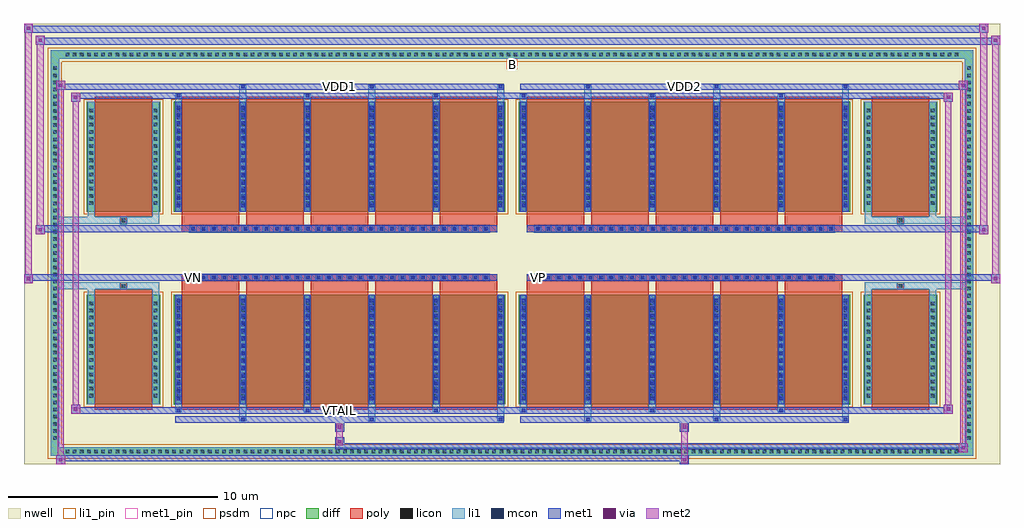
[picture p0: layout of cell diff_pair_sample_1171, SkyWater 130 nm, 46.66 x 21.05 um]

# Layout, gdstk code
import gdstk
lib = gdstk.Library(unit=1e-6, precision=5e-09)
def R(c, l, rs):  # rectangles x0, y0, x1, y1
    for r in rs: c.add(gdstk.rectangle(r[:2], r[2:], *l))
def A(c, l, x, y, w, h, nx, ny, dx, dy):  # array of equal rectangles
    R(c, l, [(x+i*dx, y+j*dy, x+i*dx+w, y+j*dy+h) for i in range(nx) for j in range(ny)])
def P(c, l, *ps):  # polygons
    for p in ps: c.add(gdstk.Polygon(p, *l))
nwell = (64, 20)
diff = (65, 20)
poly = (66, 20)
licon = (66, 44)
li1_pin = (67, 16)
li1 = (67, 20)
mcon = (67, 44)
met1_pin = (68, 16)
met1 = (68, 20)
via = (68, 44)
met2 = (69, 20)
psdm = (94, 20)
npc = (95, 20)

diff_pair_sample_1171 = lib.new_cell('diff_pair_sample_1171')
R(diff_pair_sample_1171, nwell, [(-23.33,-10.09,23.33,10.96), (-20.65,-8.28,-0.01,-0.8), (0.01,-8.28,20.65,-0.8), (-20.65,0.8,-0.01,8.28), (0.01,0.8,20.65,8.28)])
A(diff_pair_sample_1171, diff, -21.455, -9.69, 0.41, 0.41, 126, 2, 0.34, 18.97)
A(diff_pair_sample_1171, diff, -22.06, -9.045, 0.41, 0.41, 1, 53, 0, 0.34)
A(diff_pair_sample_1171, diff, 21.65, -9.045, 0.41, 0.41, 1, 53, 0, 0.34)
R(diff_pair_sample_1171, diff, [(-21.455,-9.69,21.455,-9.28), (-22.06,-9.045,-21.65,9.045), (21.65,-9.045,22.06,9.045), (-20.34,-7.235,-16.81,-1.985), (-16.17,-7.235,-0.32,-1.985), (0.32,-7.235,16.17,-1.985), (16.81,-7.235,20.34,-1.985), (-20.34,1.985,-16.81,7.235), (-16.17,1.985,-0.32,7.235), (0.32,1.985,16.17,7.235), (16.81,1.985,20.34,7.235), (-21.455,9.28,21.455,9.69)])
P(diff_pair_sample_1171, diff, [(22.06,9.69),(-22.06,9.69),(-22.06,-9.28),(-21.65,-9.28),(-21.65,9.28),(21.65,9.28),(21.65,-9.28),(-21.65,-9.28),(-22.06,-9.28),(-22.06,-9.69),(22.06,-9.69)])
A(diff_pair_sample_1171, poly, -15.78, -7.485, 2.75, 5.75, 5, 2, 3.08, 9.22)
A(diff_pair_sample_1171, poly, 0.71, -7.485, 2.75, 5.75, 5, 2, 3.08, 9.22)
A(diff_pair_sample_1171, poly, -15.78, -1.735, 2.75, 0.405, 5, 2, 3.08, 3.065)
A(diff_pair_sample_1171, poly, 0.71, -1.735, 2.75, 0.405, 5, 2, 3.08, 3.065)
A(diff_pair_sample_1171, poly, -15.41, -1.33, 0.33, 0.33, 29, 2, 0.5, 2.33)
A(diff_pair_sample_1171, poly, 1.08, -1.33, 0.33, 0.33, 29, 2, 0.5, 2.33)
R(diff_pair_sample_1171, poly, [(-19.95,-7.485,-17.2,-1.735), (17.2,-7.485,19.95,-1.735), (-18.74,-1.735,-18.41,-1.405), (-18.74,-1.735,-18.41,-1.405), (18.41,-1.735,18.74,-1.405), (18.41,-1.735,18.74,-1.405), (-15.78,-1.33,-0.71,-1), (0.71,-1.33,15.78,-1), (-15.78,1,-0.71,1.33), (0.71,1,15.78,1.33), (-18.74,1.405,-18.41,1.735), (-18.74,1.405,-18.41,1.735), (18.41,1.405,18.74,1.735), (18.41,1.405,18.74,1.735), (-19.95,1.735,-17.2,7.485), (17.2,1.735,19.95,7.485)])
A(diff_pair_sample_1171, licon, -21.335, -9.57, 0.17, 0.17, 126, 2, 0.34, 18.97)
A(diff_pair_sample_1171, licon, -21.94, -8.925, 0.17, 0.17, 1, 53, 0, 0.34)
A(diff_pair_sample_1171, licon, 21.77, -8.925, 0.17, 0.17, 1, 53, 0, 0.34)
A(diff_pair_sample_1171, licon, -20.2, -6.905, 0.17, 0.17, 1, 14, 0, 0.34)
A(diff_pair_sample_1171, licon, -17.12, -6.905, 0.17, 0.17, 1, 14, 0, 0.34)
A(diff_pair_sample_1171, licon, -16.03, -6.905, 0.17, 0.17, 6, 14, 3.08, 0.34)
A(diff_pair_sample_1171, licon, 0.46, -6.905, 0.17, 0.17, 6, 14, 3.08, 0.34)
A(diff_pair_sample_1171, licon, 16.95, -6.905, 0.17, 0.17, 1, 14, 0, 0.34)
A(diff_pair_sample_1171, licon, 20.03, -6.905, 0.17, 0.17, 1, 14, 0, 0.34)
A(diff_pair_sample_1171, licon, -15.33, -1.25, 0.17, 0.17, 29, 2, 0.5, 2.33)
A(diff_pair_sample_1171, licon, 1.16, -1.25, 0.17, 0.17, 29, 2, 0.5, 2.33)
A(diff_pair_sample_1171, licon, -20.2, 2.315, 0.17, 0.17, 1, 14, 0, 0.34)
A(diff_pair_sample_1171, licon, -17.12, 2.315, 0.17, 0.17, 1, 14, 0, 0.34)
A(diff_pair_sample_1171, licon, -16.03, 2.315, 0.17, 0.17, 6, 14, 3.08, 0.34)
A(diff_pair_sample_1171, licon, 0.46, 2.315, 0.17, 0.17, 6, 14, 3.08, 0.34)
A(diff_pair_sample_1171, licon, 16.95, 2.315, 0.17, 0.17, 1, 14, 0, 0.34)
A(diff_pair_sample_1171, licon, 20.03, 2.315, 0.17, 0.17, 1, 14, 0, 0.34)
R(diff_pair_sample_1171, licon, [(-18.66,-1.655,-18.49,-1.485), (18.49,-1.655,18.66,-1.485), (-18.66,1.485,-18.49,1.655), (18.49,1.485,18.66,1.655)])
R(diff_pair_sample_1171, li1_pin, [(-0.25,8.78,0.25,9.28)])
A(diff_pair_sample_1171, li1, -21.415, -9.65, 0.33, 0.33, 126, 2, 0.34, 18.97)
A(diff_pair_sample_1171, li1, -22.02, -9.005, 0.33, 0.33, 1, 53, 0, 0.34)
A(diff_pair_sample_1171, li1, 21.69, -9.005, 0.33, 0.33, 1, 53, 0, 0.34)
A(diff_pair_sample_1171, li1, -13.03, -8.04, 0.33, 0.805, 3, 2, 6.16, 15.275)
A(diff_pair_sample_1171, li1, -12.95, -8.04, 0.17, 0.17, 3, 2, 6.16, 15.91)
A(diff_pair_sample_1171, li1, 3.46, -8.04, 0.33, 0.805, 3, 2, 6.16, 15.275)
A(diff_pair_sample_1171, li1, 3.54, -8.04, 0.17, 0.17, 3, 2, 6.16, 15.91)
A(diff_pair_sample_1171, li1, -16.11, -7.61, 0.33, 0.375, 3, 2, 6.16, 14.845)
A(diff_pair_sample_1171, li1, -16.03, -7.61, 0.17, 0.17, 3, 2, 6.16, 15.05)
A(diff_pair_sample_1171, li1, 0.38, -7.61, 0.33, 0.375, 3, 2, 6.16, 14.845)
A(diff_pair_sample_1171, li1, 0.46, -7.61, 0.17, 0.17, 3, 2, 6.16, 15.05)
A(diff_pair_sample_1171, li1, -16.11, -7.235, 0.33, 5.25, 6, 2, 3.08, 9.22)
A(diff_pair_sample_1171, li1, 0.38, -7.235, 0.33, 5.25, 6, 2, 3.08, 9.22)
A(diff_pair_sample_1171, li1, -16.03, -7.035, 0.17, 0.17, 6, 14, 3.08, 0.36)
A(diff_pair_sample_1171, li1, -16.03, -7.035, 0.17, 4.85, 6, 2, 3.08, 9.22)
A(diff_pair_sample_1171, li1, 0.46, -7.035, 0.17, 0.17, 6, 14, 3.08, 0.36)
A(diff_pair_sample_1171, li1, 0.46, -7.035, 0.17, 4.85, 6, 2, 3.08, 9.22)
A(diff_pair_sample_1171, li1, -20.28, -6.985, 0.33, 0.33, 1, 14, 0, 0.34)
A(diff_pair_sample_1171, li1, -17.2, -6.985, 0.33, 0.33, 1, 14, 0, 0.34)
A(diff_pair_sample_1171, li1, -16.11, -6.985, 0.33, 0.33, 6, 14, 3.08, 0.34)
A(diff_pair_sample_1171, li1, 0.38, -6.985, 0.33, 0.33, 6, 14, 3.08, 0.34)
A(diff_pair_sample_1171, li1, 16.87, -6.985, 0.33, 0.33, 1, 14, 0, 0.34)
A(diff_pair_sample_1171, li1, 19.95, -6.985, 0.33, 0.33, 1, 14, 0, 0.34)
A(diff_pair_sample_1171, li1, -15.41, -1.33, 0.33, 0.33, 29, 2, 0.5, 2.33)
A(diff_pair_sample_1171, li1, 1.08, -1.33, 0.33, 0.33, 29, 2, 0.5, 2.33)
A(diff_pair_sample_1171, li1, -16.03, 2.185, 0.17, 0.17, 6, 14, 3.08, 0.36)
A(diff_pair_sample_1171, li1, 0.46, 2.185, 0.17, 0.17, 6, 14, 3.08, 0.36)
A(diff_pair_sample_1171, li1, -20.28, 2.235, 0.33, 0.33, 1, 14, 0, 0.34)
A(diff_pair_sample_1171, li1, -17.2, 2.235, 0.33, 0.33, 1, 14, 0, 0.34)
A(diff_pair_sample_1171, li1, -16.11, 2.235, 0.33, 0.33, 6, 14, 3.08, 0.34)
A(diff_pair_sample_1171, li1, 0.38, 2.235, 0.33, 0.33, 6, 14, 3.08, 0.34)
A(diff_pair_sample_1171, li1, 16.87, 2.235, 0.33, 0.33, 1, 14, 0, 0.34)
A(diff_pair_sample_1171, li1, 19.95, 2.235, 0.33, 0.33, 1, 14, 0, 0.34)
R(diff_pair_sample_1171, li1, [(-22.06,-9.69,-21.65,-9.28), (-22.06,-9.69,-21.65,-9.28), (-21.65,-9.69,21.65,-9.28), (21.65,-9.69,22.06,-9.28), (21.65,-9.69,22.06,-9.28), (-22.06,-9.28,-21.65,9.28), (21.65,-9.28,22.06,9.28), (-20.28,-7.235,-19.95,-1.985), (-17.2,-7.235,-16.87,-1.985), (16.87,-7.235,17.2,-1.985), (19.95,-7.235,20.28,-1.985), (-20.28,-1.985,-19.95,-1.405), (-17.2,-1.985,-16.87,-1.405), (16.87,-1.985,17.2,-1.405), (19.95,-1.985,20.28,-1.405), (-22.06,-1.735,-18.74,-1.405), (-20.28,-1.735,-18.74,-1.405), (-18.74,-1.735,-18.41,-1.405), (-18.41,-1.735,-16.87,-1.405), (16.87,-1.735,18.41,-1.405), (18.41,-1.735,18.74,-1.405), (18.41,-1.735,22.06,-1.405), (18.74,-1.735,20.28,-1.405), (-22.06,1.405,-18.74,1.735), (-20.28,1.405,-18.74,1.735), (-20.28,1.405,-19.95,1.985), (-18.74,1.405,-18.41,1.735), (-18.41,1.405,-16.87,1.735), (-17.2,1.405,-16.87,1.985), (16.87,1.405,18.41,1.735), (16.87,1.405,17.2,1.985), (18.41,1.405,18.74,1.735), (18.41,1.405,22.06,1.735), (18.74,1.405,20.28,1.735), (19.95,1.405,20.28,1.985), (-20.28,1.985,-19.95,7.235), (-17.2,1.985,-16.87,7.235), (16.87,1.985,17.2,7.235), (19.95,1.985,20.28,7.235), (-22.06,9.28,-21.65,9.69), (-22.06,9.28,-21.65,9.69), (-21.65,9.28,21.65,9.69), (21.65,9.28,22.06,9.69), (21.65,9.28,22.06,9.69)])
A(diff_pair_sample_1171, mcon, -12.95, -8.04, 0.17, 0.17, 3, 2, 6.16, 15.91)
A(diff_pair_sample_1171, mcon, 3.54, -8.04, 0.17, 0.17, 3, 2, 6.16, 15.91)
A(diff_pair_sample_1171, mcon, -16.03, -7.61, 0.17, 0.17, 3, 2, 6.16, 15.05)
A(diff_pair_sample_1171, mcon, 0.46, -7.61, 0.17, 0.17, 3, 2, 6.16, 15.05)
A(diff_pair_sample_1171, mcon, -16.03, -7.035, 0.17, 0.17, 6, 14, 3.08, 0.36)
A(diff_pair_sample_1171, mcon, 0.46, -7.035, 0.17, 0.17, 6, 14, 3.08, 0.36)
A(diff_pair_sample_1171, mcon, -15.33, -1.25, 0.17, 0.17, 29, 2, 0.5, 2.33)
A(diff_pair_sample_1171, mcon, 1.16, -1.25, 0.17, 0.17, 29, 2, 0.5, 2.33)
A(diff_pair_sample_1171, mcon, -16.03, 2.185, 0.17, 0.17, 6, 14, 3.08, 0.36)
A(diff_pair_sample_1171, mcon, 0.46, 2.185, 0.17, 0.17, 6, 14, 3.08, 0.36)
R(diff_pair_sample_1171, met1_pin, [(-8.38,-7.65,-8.11,-7.38), (-15.38,-1.29,-15.11,-1.02), (1.11,-1.29,1.38,-1.02), (-8.38,7.83,-8.11,8.1), (8.11,7.83,8.38,8.1)])
A(diff_pair_sample_1171, met1, -13.01, -8.1, 0.29, 0.29, 3, 2, 6.16, 15.91)
A(diff_pair_sample_1171, met1, 3.48, -8.1, 0.29, 0.29, 3, 2, 6.16, 15.91)
A(diff_pair_sample_1171, met1, -16.09, -7.67, 0.29, 0.29, 3, 2, 6.16, 15.05)
A(diff_pair_sample_1171, met1, 0.4, -7.67, 0.29, 0.29, 3, 2, 6.16, 15.05)
A(diff_pair_sample_1171, met1, -16.09, -7.235, 0.29, 5.25, 6, 2, 3.08, 9.22)
A(diff_pair_sample_1171, met1, 0.4, -7.235, 0.29, 5.25, 6, 2, 3.08, 9.22)
A(diff_pair_sample_1171, met1, -16.09, -7.095, 0.29, 0.29, 6, 14, 3.08, 0.36)
A(diff_pair_sample_1171, met1, 0.4, -7.095, 0.29, 0.29, 6, 14, 3.08, 0.36)
A(diff_pair_sample_1171, met1, -15.39, -1.31, 0.29, 0.29, 29, 2, 0.5, 2.33)
A(diff_pair_sample_1171, met1, 1.1, -1.31, 0.29, 0.29, 29, 2, 0.5, 2.33)
A(diff_pair_sample_1171, met1, -16.09, 2.125, 0.29, 0.29, 6, 14, 3.08, 0.36)
A(diff_pair_sample_1171, met1, 0.4, 2.125, 0.29, 0.29, 6, 14, 3.08, 0.36)
R(diff_pair_sample_1171, met1, [(-21.79,-10.09,-21.36,-9.66), (8.03,-10.09,8.46,-9.66), (-21.79,-9.95,8.46,-9.66), (21.36,-9.52,21.79,-9.09), (-8.46,-9.38,21.79,-9.09), (-8.46,-9.24,-8.03,-8.81), (-8.46,-8.53,-8.03,-8.1), (8.03,-8.53,8.46,-8.1), (-16.09,-8.1,-0.4,-7.81), (0.4,-8.1,16.09,-7.81), (-21.08,-7.67,-20.65,-7.24), (-21.08,-7.67,-16.09,-7.38), (-16.09,-7.67,-0.4,-7.38), (-0.4,-7.67,0.4,-7.38), (0.4,-7.67,16.09,-7.38), (16.09,-7.67,21.08,-7.38), (20.65,-7.67,21.08,-7.24), (-23.33,-1.43,-22.9,-1), (22.9,-1.43,23.33,-1), (-23.33,-1.33,-0.71,-1), (-15.78,-1.33,-0.71,-1), (0.71,-1.33,15.78,-1), (0.71,-1.33,23.33,-1), (-22.76,0.9,-22.33,1.33), (22.33,0.9,22.76,1.33), (-22.76,1,-15.78,1.33), (-15.78,1,-0.71,1.33), (0.71,1,15.78,1.33), (15.78,1,22.76,1.33), (-21.08,7.24,-20.65,7.67), (20.65,7.24,21.08,7.67), (-21.08,7.38,-16.09,7.67), (-16.09,7.38,-0.4,7.67), (-0.4,7.38,0.4,7.67), (0.4,7.38,16.09,7.67), (16.09,7.38,21.08,7.67), (-21.79,7.81,-21.36,8.24), (-21.79,7.81,-16.09,8.1), (-16.09,7.81,-0.4,8.1), (0.4,7.81,16.09,8.1), (16.09,7.81,21.79,8.1), (21.36,7.81,21.79,8.24), (-22.76,9.96,-22.33,10.39), (-22.76,9.96,-20.65,10.29), (-20.65,9.96,20.65,10.29), (20.65,9.96,23.33,10.29), (22.9,9.96,23.33,10.39), (-23.33,10.53,-22.9,10.96), (-23.33,10.53,-20.65,10.86), (-20.65,10.53,20.65,10.86), (20.65,10.53,22.76,10.86), (22.33,10.53,22.76,10.96)])
R(diff_pair_sample_1171, via, [(-21.65,-9.95,-21.5,-9.8), (8.17,-9.95,8.32,-9.8), (21.5,-9.38,21.65,-9.23), (-8.32,-9.1,-8.17,-8.95), (-8.32,-8.39,-8.17,-8.24), (8.17,-8.39,8.32,-8.24), (-20.94,-7.53,-20.79,-7.38), (20.79,-7.53,20.94,-7.38), (-23.19,-1.29,-23.04,-1.14), (23.04,-1.29,23.19,-1.14), (-22.62,1.04,-22.47,1.19), (22.47,1.04,22.62,1.19), (-20.94,7.38,-20.79,7.53), (20.79,7.38,20.94,7.53), (-21.65,7.95,-21.5,8.1), (21.5,7.95,21.65,8.1), (-22.62,10.1,-22.47,10.25), (23.04,10.1,23.19,10.25), (-23.19,10.67,-23.04,10.82), (22.47,10.67,22.62,10.82)])
R(diff_pair_sample_1171, met2, [(-21.79,-10.09,-21.36,-9.66), (-21.72,-10.09,-21.43,8.24), (-21.43,-10.09,-21.36,-9.66), (-21.74,-10.04,-21.41,-9.71), (8.08,-10.04,8.41,-9.71), (8.08,-9.71,8.41,-8.48), (21.36,-9.52,21.79,-9.09), (21.43,-9.52,21.72,8.24), (21.72,-9.52,21.79,-9.09), (21.41,-9.47,21.74,-9.14), (-8.41,-9.19,-8.08,-8.86), (-8.41,-8.86,-8.08,-8.48), (-8.41,-8.48,-8.08,-8.15), (8.08,-8.48,8.41,-8.15), (-21.08,-7.67,-20.65,-7.24), (-21.01,-7.67,-20.72,7.67), (-20.72,-7.67,-20.65,-7.24), (20.65,-7.67,21.08,-7.24), (20.72,-7.67,21.01,7.67), (21.01,-7.67,21.08,-7.24), (-21.03,-7.62,-20.7,-7.29), (20.7,-7.62,21.03,-7.29), (-23.33,-1.43,-22.9,-1), (-23.28,-1.43,-22.95,10.96), (-22.95,-1.43,-22.9,-1), (22.9,-1.43,23.33,-1), (22.95,-1.43,23.28,10.39), (23.28,-1.43,23.33,-1), (-23.28,-1.38,-22.95,-1.05), (22.95,-1.38,23.28,-1.05), (-22.76,0.9,-22.33,1.33), (-22.71,0.9,-22.38,10.39), (-22.38,0.9,-22.33,1.33), (22.33,0.9,22.76,1.33), (22.38,0.9,22.71,10.96), (22.71,0.9,22.76,1.33), (-22.71,0.95,-22.38,1.28), (22.38,0.95,22.71,1.28), (-21.08,7.24,-20.65,7.67), (-20.72,7.24,-20.65,7.67), (20.65,7.24,21.08,7.67), (21.01,7.24,21.08,7.67), (-21.03,7.29,-20.7,7.62), (20.7,7.29,21.03,7.62), (-21.79,7.81,-21.36,8.24), (-21.43,7.81,-21.36,8.24), (21.36,7.81,21.79,8.24), (21.72,7.81,21.79,8.24), (-21.74,7.86,-21.41,8.19), (21.41,7.86,21.74,8.19), (-22.76,9.96,-22.33,10.39), (-22.38,9.96,-22.33,10.39), (22.9,9.96,23.33,10.39), (23.28,9.96,23.33,10.39), (-22.71,10.01,-22.38,10.34), (22.95,10.01,23.28,10.34), (-23.33,10.53,-22.9,10.96), (-22.95,10.53,-22.9,10.96), (22.33,10.53,22.76,10.96), (22.71,10.53,22.76,10.96), (-23.28,10.58,-22.95,10.91), (22.38,10.58,22.71,10.91)])
R(diff_pair_sample_1171, psdm, [(-20.47,-7.365,-16.68,-1.855), (-16.3,-7.365,-0.19,-1.855), (0.19,-7.365,16.3,-1.855), (16.68,-7.365,20.47,-1.855), (-20.47,1.855,-16.68,7.365), (-16.3,1.855,-0.19,7.365), (0.19,1.855,16.3,7.365), (16.68,1.855,20.47,7.365)])
P(diff_pair_sample_1171, psdm, [(22.19,9.82),(-22.19,9.82),(-22.19,-9.15),(-21.52,-9.15),(-21.52,9.15),(21.52,9.15),(21.52,-9.15),(-21.52,-9.15),(-22.19,-9.15),(-22.19,-9.82),(22.19,-9.82)])
A(diff_pair_sample_1171, npc, -15.43, -1.35, 0.37, 0.37, 29, 2, 0.5, 2.33)
A(diff_pair_sample_1171, npc, 1.06, -1.35, 0.37, 0.37, 29, 2, 0.5, 2.33)
R(diff_pair_sample_1171, npc, [(-18.76,-1.755,-18.39,-1.385), (18.39,-1.755,18.76,-1.385), (-15.43,-1.35,-14.56,-0.98), (-15.43,-1.35,-14.56,-0.98), (-14.93,-1.35,-14.06,-0.98), (-14.93,-1.35,-14.06,-0.98), (-14.43,-1.35,-13.56,-0.98), (-14.43,-1.35,-13.56,-0.98), (-13.93,-1.35,-13.06,-0.98), (-13.93,-1.35,-13.06,-0.98), (-13.43,-1.35,-12.56,-0.98), (-13.43,-1.35,-12.56,-0.98), (-12.93,-1.35,-12.06,-0.98), (-12.93,-1.35,-12.06,-0.98), (-12.43,-1.35,-11.56,-0.98), (-12.43,-1.35,-11.56,-0.98), (-11.93,-1.35,-11.06,-0.98), (-11.93,-1.35,-11.06,-0.98), (-11.43,-1.35,-10.56,-0.98), (-11.43,-1.35,-10.56,-0.98), (-10.93,-1.35,-10.06,-0.98), (-10.93,-1.35,-10.06,-0.98), (-10.43,-1.35,-9.56,-0.98), (-10.43,-1.35,-9.56,-0.98), (-9.93,-1.35,-9.06,-0.98), (-9.93,-1.35,-9.06,-0.98), (-9.43,-1.35,-8.56,-0.98), (-9.43,-1.35,-8.56,-0.98), (-8.93,-1.35,-8.06,-0.98), (-8.93,-1.35,-8.06,-0.98), (-8.43,-1.35,-7.56,-0.98), (-8.43,-1.35,-7.56,-0.98), (-7.93,-1.35,-7.06,-0.98), (-7.93,-1.35,-7.06,-0.98), (-7.43,-1.35,-6.56,-0.98), (-7.43,-1.35,-6.56,-0.98), (-6.93,-1.35,-6.06,-0.98), (-6.93,-1.35,-6.06,-0.98), (-6.43,-1.35,-5.56,-0.98), (-6.43,-1.35,-5.56,-0.98), (-5.93,-1.35,-5.06,-0.98), (-5.93,-1.35,-5.06,-0.98), (-5.43,-1.35,-4.56,-0.98), (-5.43,-1.35,-4.56,-0.98), (-4.93,-1.35,-4.06,-0.98), (-4.93,-1.35,-4.06,-0.98), (-4.43,-1.35,-3.56,-0.98), (-4.43,-1.35,-3.56,-0.98), (-3.93,-1.35,-3.06,-0.98), (-3.93,-1.35,-3.06,-0.98), (-3.43,-1.35,-2.56,-0.98), (-3.43,-1.35,-2.56,-0.98), (-2.93,-1.35,-2.06,-0.98), (-2.93,-1.35,-2.06,-0.98), (-2.43,-1.35,-1.56,-0.98), (-2.43,-1.35,-1.56,-0.98), (-1.93,-1.35,-1.06,-0.98), (-1.93,-1.35,-1.06,-0.98), (1.06,-1.35,1.93,-0.98), (1.06,-1.35,1.93,-0.98), (1.56,-1.35,2.43,-0.98), (1.56,-1.35,2.43,-0.98), (2.06,-1.35,2.93,-0.98), (2.06,-1.35,2.93,-0.98), (2.56,-1.35,3.43,-0.98), (2.56,-1.35,3.43,-0.98), (3.06,-1.35,3.93,-0.98), (3.06,-1.35,3.93,-0.98), (3.56,-1.35,4.43,-0.98), (3.56,-1.35,4.43,-0.98), (4.06,-1.35,4.93,-0.98), (4.06,-1.35,4.93,-0.98), (4.56,-1.35,5.43,-0.98), (4.56,-1.35,5.43,-0.98), (5.06,-1.35,5.93,-0.98), (5.06,-1.35,5.93,-0.98), (5.56,-1.35,6.43,-0.98), (5.56,-1.35,6.43,-0.98), (6.06,-1.35,6.93,-0.98), (6.06,-1.35,6.93,-0.98), (6.56,-1.35,7.43,-0.98), (6.56,-1.35,7.43,-0.98), (7.06,-1.35,7.93,-0.98), (7.06,-1.35,7.93,-0.98), (7.56,-1.35,8.43,-0.98), (7.56,-1.35,8.43,-0.98), (8.06,-1.35,8.93,-0.98), (8.06,-1.35,8.93,-0.98), (8.56,-1.35,9.43,-0.98), (8.56,-1.35,9.43,-0.98), (9.06,-1.35,9.93,-0.98), (9.06,-1.35,9.93,-0.98), (9.56,-1.35,10.43,-0.98), (9.56,-1.35,10.43,-0.98), (10.06,-1.35,10.93,-0.98), (10.06,-1.35,10.93,-0.98), (10.56,-1.35,11.43,-0.98), (10.56,-1.35,11.43,-0.98), (11.06,-1.35,11.93,-0.98), (11.06,-1.35,11.93,-0.98), (11.56,-1.35,12.43,-0.98), (11.56,-1.35,12.43,-0.98), (12.06,-1.35,12.93,-0.98), (12.06,-1.35,12.93,-0.98), (12.56,-1.35,13.43,-0.98), (12.56,-1.35,13.43,-0.98), (13.06,-1.35,13.93,-0.98), (13.06,-1.35,13.93,-0.98), (13.56,-1.35,14.43,-0.98), (13.56,-1.35,14.43,-0.98), (14.06,-1.35,14.93,-0.98), (14.06,-1.35,14.93,-0.98), (14.56,-1.35,15.43,-0.98), (14.56,-1.35,15.43,-0.98), (-15.43,0.98,-14.56,1.35), (-15.43,0.98,-14.56,1.35), (-14.93,0.98,-14.06,1.35), (-14.93,0.98,-14.06,1.35), (-14.43,0.98,-13.56,1.35), (-14.43,0.98,-13.56,1.35), (-13.93,0.98,-13.06,1.35), (-13.93,0.98,-13.06,1.35), (-13.43,0.98,-12.56,1.35), (-13.43,0.98,-12.56,1.35), (-12.93,0.98,-12.06,1.35), (-12.93,0.98,-12.06,1.35), (-12.43,0.98,-11.56,1.35), (-12.43,0.98,-11.56,1.35), (-11.93,0.98,-11.06,1.35), (-11.93,0.98,-11.06,1.35), (-11.43,0.98,-10.56,1.35), (-11.43,0.98,-10.56,1.35), (-10.93,0.98,-10.06,1.35), (-10.93,0.98,-10.06,1.35), (-10.43,0.98,-9.56,1.35), (-10.43,0.98,-9.56,1.35), (-9.93,0.98,-9.06,1.35), (-9.93,0.98,-9.06,1.35), (-9.43,0.98,-8.56,1.35), (-9.43,0.98,-8.56,1.35), (-8.93,0.98,-8.06,1.35), (-8.93,0.98,-8.06,1.35), (-8.43,0.98,-7.56,1.35), (-8.43,0.98,-7.56,1.35), (-7.93,0.98,-7.06,1.35), (-7.93,0.98,-7.06,1.35), (-7.43,0.98,-6.56,1.35), (-7.43,0.98,-6.56,1.35), (-6.93,0.98,-6.06,1.35), (-6.93,0.98,-6.06,1.35), (-6.43,0.98,-5.56,1.35), (-6.43,0.98,-5.56,1.35), (-5.93,0.98,-5.06,1.35), (-5.93,0.98,-5.06,1.35), (-5.43,0.98,-4.56,1.35), (-5.43,0.98,-4.56,1.35), (-4.93,0.98,-4.06,1.35), (-4.93,0.98,-4.06,1.35), (-4.43,0.98,-3.56,1.35), (-4.43,0.98,-3.56,1.35), (-3.93,0.98,-3.06,1.35), (-3.93,0.98,-3.06,1.35), (-3.43,0.98,-2.56,1.35), (-3.43,0.98,-2.56,1.35), (-2.93,0.98,-2.06,1.35), (-2.93,0.98,-2.06,1.35), (-2.43,0.98,-1.56,1.35), (-2.43,0.98,-1.56,1.35), (-1.93,0.98,-1.06,1.35), (-1.93,0.98,-1.06,1.35), (1.06,0.98,1.93,1.35), (1.06,0.98,1.93,1.35), (1.56,0.98,2.43,1.35), (1.56,0.98,2.43,1.35), (2.06,0.98,2.93,1.35), (2.06,0.98,2.93,1.35), (2.56,0.98,3.43,1.35), (2.56,0.98,3.43,1.35), (3.06,0.98,3.93,1.35), (3.06,0.98,3.93,1.35), (3.56,0.98,4.43,1.35), (3.56,0.98,4.43,1.35), (4.06,0.98,4.93,1.35), (4.06,0.98,4.93,1.35), (4.56,0.98,5.43,1.35), (4.56,0.98,5.43,1.35), (5.06,0.98,5.93,1.35), (5.06,0.98,5.93,1.35), (5.56,0.98,6.43,1.35), (5.56,0.98,6.43,1.35), (6.06,0.98,6.93,1.35), (6.06,0.98,6.93,1.35), (6.56,0.98,7.43,1.35), (6.56,0.98,7.43,1.35), (7.06,0.98,7.93,1.35), (7.06,0.98,7.93,1.35), (7.56,0.98,8.43,1.35), (7.56,0.98,8.43,1.35), (8.06,0.98,8.93,1.35), (8.06,0.98,8.93,1.35), (8.56,0.98,9.43,1.35), (8.56,0.98,9.43,1.35), (9.06,0.98,9.93,1.35), (9.06,0.98,9.93,1.35), (9.56,0.98,10.43,1.35), (9.56,0.98,10.43,1.35), (10.06,0.98,10.93,1.35), (10.06,0.98,10.93,1.35), (10.56,0.98,11.43,1.35), (10.56,0.98,11.43,1.35), (11.06,0.98,11.93,1.35), (11.06,0.98,11.93,1.35), (11.56,0.98,12.43,1.35), (11.56,0.98,12.43,1.35), (12.06,0.98,12.93,1.35), (12.06,0.98,12.93,1.35), (12.56,0.98,13.43,1.35), (12.56,0.98,13.43,1.35), (13.06,0.98,13.93,1.35), (13.06,0.98,13.93,1.35), (13.56,0.98,14.43,1.35), (13.56,0.98,14.43,1.35), (14.06,0.98,14.93,1.35), (14.06,0.98,14.93,1.35), (14.56,0.98,15.43,1.35), (14.56,0.98,15.43,1.35), (-18.76,1.385,-18.39,1.755), (18.39,1.385,18.76,1.755)])
diff_pair_sample_1171.add(gdstk.Label('VTAIL', (-8.245,-7.515), layer=68, texttype=5))
diff_pair_sample_1171.add(gdstk.Label('VN', (-15.245,-1.155), layer=68, texttype=5))
diff_pair_sample_1171.add(gdstk.Label('VP', (1.245,-1.155), layer=68, texttype=5))
diff_pair_sample_1171.add(gdstk.Label('B', (0,9.03), layer=67, texttype=5))
diff_pair_sample_1171.add(gdstk.Label('VDD2', (8.245,7.965), layer=68, texttype=5))
diff_pair_sample_1171.add(gdstk.Label('VDD1', (-8.245,7.965), layer=68, texttype=5))

lib.write_gds('diff_pair_sample_1171.gds')
